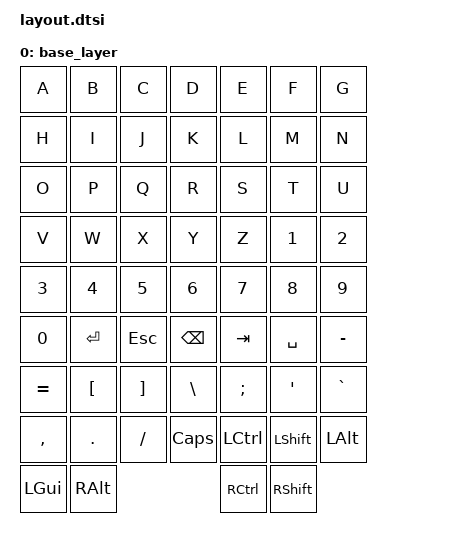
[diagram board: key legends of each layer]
/ {
    keymap {
        compatible = "zmk,keymap";
        base_layer {
            bindings = <
                &kp A &kp B &kp C &kp D &kp E &kp F &kp G
                &kp H &kp I &kp J &kp K &kp L &kp M &kp N
                &kp O &kp P &kp Q &kp R &kp S &kp T &kp U
                &kp V &kp W &kp X &kp Y &kp Z &kp 1 &kp 2
                &kp 3 &kp 4 &kp 5 &kp 6 &kp 7 &kp 8 &kp 9
                &kp 0 &kp ENTER &kp ESC &kp BSPC &kp TAB &kp SPACE &kp MINUS
                &kp EQUAL &kp LBKT &kp RBKT &kp BSLH &kp SEMI &kp SQT &kp GRAVE
                &kp COMMA &kp DOT &kp SLASH &kp CAPS &kp LCTRL &kp LSHFT &kp LALT
                &kp LGUI &kp RALT &kp RCTRL &kp RSHFT
            >;
        };
    };
};
